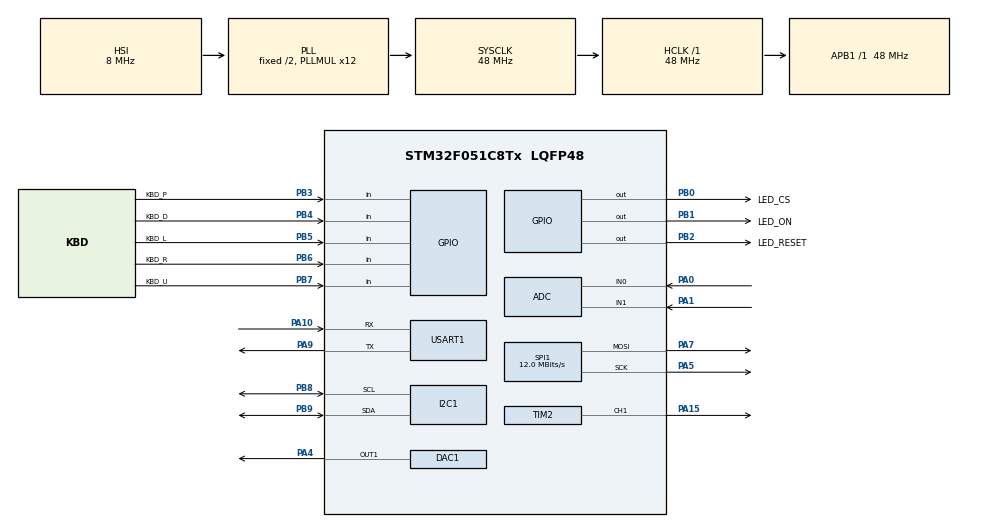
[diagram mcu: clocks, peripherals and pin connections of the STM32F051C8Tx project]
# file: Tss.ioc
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ADC.DMAContinuousRequests=ENABLE
ADC.EOCSelection=ADC_EOC_SEQ_CONV
ADC.Overrun=ADC_OVR_DATA_OVERWRITTEN
ADC.SamplingTime=ADC_SAMPLETIME_28CYCLES_5
Dma.ADC.0.Direction=DMA_PERIPH_TO_MEMORY
Dma.ADC.0.Instance=DMA1_Channel1
Dma.ADC.0.MemDataAlignment=DMA_MDATAALIGN_WORD
Dma.ADC.0.MemInc=DMA_MINC_ENABLE
Dma.ADC.0.Mode=DMA_NORMAL
Dma.ADC.0.PeriphDataAlignment=DMA_PDATAALIGN_HALFWORD
Dma.ADC.0.PeriphInc=DMA_PINC_DISABLE
Dma.ADC.0.Priority=DMA_PRIORITY_LOW
Dma.Request0=ADC
FREERTOS.HEAP_NUMBER=2
FREERTOS.INCLUDE_uxTaskPriorityGet=0
FREERTOS.INCLUDE_vTaskDelete=0
FREERTOS.INCLUDE_vTaskPrioritySet=0
FREERTOS.INCLUDE_vTaskSuspend=0
FREERTOS.INCLUDE_xTaskGetSchedulerState=0
FREERTOS.Queues01=myKBDQueue,16,uint16_t,0,Dynamic,NULL,NULL
FREERTOS.Tasks01=defaultTask,0,128,StartDefaultTask,Default,NULL,Dynamic,NULL,NULL;myDisplayTask,0,128,StartDisplayTask,Default,NULL,Dynamic,NULL,NULL;myKBDTask,0,128,StartKBDTask,Default,NULL,Dynamic,NULL,NULL
FREERTOS.Timers01=myTimer01,TimerCallback,osTimerPeriodic,Default,NULL,Dynamic,NULL
FREERTOS.configENABLE_BACKWARD_COMPATIBILITY=0
FREERTOS.configTOTAL_HEAP_SIZE=4096
FREERTOS.configUSE_IDLE_HOOK=0
FREERTOS.configUSE_TIMERS=1
Mcu.Family=STM32F0
Mcu.Name=STM32F051C8Tx
Mcu.Package=LQFP48
NVIC.DMA1_Channel1_IRQn=true\:3\:0\:false\:false\:true\:true\:false\:true
NVIC.TIM1_BRK_UP_TRG_COM_IRQn=true\:0\:0\:false\:false\:true\:false\:false\:true
NVIC.TimeBase=TIM1_BRK_UP_TRG_COM_IRQn
NVIC.TimeBaseIP=TIM1
PA0.Mode=IN0
PA0.Signal=ADC_IN0
PA1.Mode=IN1
PA1.Signal=ADC_IN1
PA10.Mode=Asynchronous
PA10.Signal=USART1_RX
PA13.Mode=Serial_Wire
PA13.Signal=SYS_SWDIO
PA14.Mode=Serial_Wire
PA14.Signal=SYS_SWCLK
PA15.Signal=S_TIM2_CH1_ETR
PA4.Signal=COMP_DAC11_group
PA5.Mode=TX_Only_Simplex_Unidirect_Master
PA5.Signal=SPI1_SCK
PA7.Mode=TX_Only_Simplex_Unidirect_Master
PA7.Signal=SPI1_MOSI
PA9.Mode=Asynchronous
PA9.Signal=USART1_TX
PB0.GPIO_Label=LED_CS
PB0.Signal=GPIO_Output
PB1.GPIO_Label=LED_ON
PB1.Signal=GPIO_Output
PB2.GPIO_Label=LED_RESET
PB2.Signal=GPIO_Output
PB3.GPIO_Label=KBD_P
PB3.Signal=GPIO_Input
PB4.GPIO_Label=KBD_D
PB4.Signal=GPIO_Input
PB5.GPIO_Label=KBD_L
PB5.Signal=GPIO_Input
PB6.GPIO_Label=KBD_R
PB6.Signal=GPIO_Input
PB7.GPIO_Label=KBD_U
PB7.Signal=GPIO_Input
PB8.Mode=I2C
PB8.Signal=I2C1_SCL
PB9.Mode=I2C
PB9.Signal=I2C1_SDA
ProjectManager.HeapSize=0x200
ProjectManager.StackSize=0x400
ProjectManager.TargetToolchain=MDK-ARM V5
RCC.AHBFreq_Value=48000000
RCC.APB1Freq_Value=48000000
RCC.APB1TimFreq_Value=48000000
RCC.HCLKFreq_Value=48000000
RCC.PLLMUL=RCC_PLL_MUL12
RCC.SYSCLKFreq_VALUE=48000000
RCC.SYSCLKSource=RCC_SYSCLKSOURCE_PLLCLK
SH.COMP_DAC11_group.0=DAC1_OUT1,DAC_OUT1
SH.S_TIM2_CH1_ETR.0=TIM2_CH1,PWM Generation1 CH1
SPI1.BaudRatePrescaler=SPI_BAUDRATEPRESCALER_4
SPI1.CalculateBaudRate=12.0 MBits/s
SPI1.DataSize=SPI_DATASIZE_9BIT
SPI1.Direction=SPI_DIRECTION_2LINES
SPI1.Mode=SPI_MODE_MASTER
SPI1.VirtualType=VM_MASTER
TIM2.AutoReloadPreload=TIM_AUTORELOAD_PRELOAD_ENABLE
TIM2.Channel-PWM\ Generation1\ CH1=TIM_CHANNEL_1
TIM2.Period=480
TIM2.Pulse-PWM\ Generation1\ CH1=100
USART1.VirtualMode-Asynchronous=VM_ASYNC
VP_ADC_Vref_Input.Mode=IN-Vrefint
VP_FREERTOS_VS_CMSIS_V1.Mode=CMSIS_V1
VP_SYS_VS_tim1.Mode=TIM1
VP_TIM2_VS_ClockSourceINT.Mode=Internal
board=custom

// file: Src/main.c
/* USER CODE BEGIN Header */
/**
  ******************************************************************************
  * @file           : main.c
  * @brief          : Main program body
  ******************************************************************************
  * @attention
  *
  * <h2><center>&copy; Copyright (c) 2020 STMicroelectronics.
  * All rights reserved.</center></h2>
  *
  * This software component is licensed by ST under BSD 3-Clause license,
  * the "License"; You may not use this file except in compliance with the
  * License. You may obtain a copy of the License at:
  *                        opensource.org/licenses/BSD-3-Clause
  *
  ******************************************************************************
  */
/* USER CODE END Header */

#include "main.h"
#include "cmsis_os.h"

/* USER CODE BEGIN Includes */
#include "n1202.h"
#include "stdio.h"
#include "string.h"
#include "stdbool.h"
#include "stdint.h"
#include "stdlib.h"

/* USER CODE END Includes */

/* USER CODE BEGIN PTD */
#define KB_NN 0x00
#define KB_UP 0x01
#define	KB_DN 0x02
#define	KB_LF 0x03
#define	KB_RT 0x04
#define	KB_PR 0x05
#define KB_ND 0x06

#define STOP_MODE 0x01
#define RUN_MODE  0x02
#define CV_MODE   0x03
#define CC_MODE   0x04
#define CP_MODE   0x05
#define CS_MODE   0x06

#define VDD_APPLI                      ((uint32_t)3300)   /* Value of analog voltage supply Vdda (unit: mV) */
#define RANGE_12BITS                   ((uint32_t)4095)   /* Max value for a full range of 12 bits (4096 values) */
#define VREFINT_CAL_ADDR                0x1FFFF7BA  /* datasheet p. 19 */
#define VREFINT_CAL ((uint16_t*) VREFINT_CAL_ADDR)

/* USER CODE END PTD */

/* USER CODE BEGIN PM */
uint8_t _LCD_RAM[LCD_X*LCD_String];
uint32_t adc_data[3];
uint16_t rdac;
//
uint32_t mVoltage = 0;
uint32_t mCurrent = 0;
uint32_t mPower = 0;
//
uint32_t last_time;
uint32_t pConsumption = 0;
//
uint8_t  mMode = 1;
uint8_t  mRun = 0;
//
const	char cic[32] = {0x00,0x00,0x80,0xC0,0xE0,0xB0,0x98,0x80,0x80,0x80,0x80,0xBE,0x8A,0x82,0x80,0x00,
	                    0x00,0x00,0x01,0x03,0x07,0x0D,0x19,0x01,0x01,0x01,0x01,0x7D,0x45,0x45,0x01,0x00};

/* USER CODE END PM */

ADC_HandleTypeDef hadc;
DMA_HandleTypeDef hdma_adc;

DAC_HandleTypeDef hdac1;

I2C_HandleTypeDef hi2c1;

SPI_HandleTypeDef hspi1;

TIM_HandleTypeDef htim2;

UART_HandleTypeDef huart1;

osThreadId defaultTaskHandle;
osThreadId myDisplayTaskHandle;
osThreadId myKBDTaskHandle;
osMessageQId myKBDQueueHandle;
osTimerId myTimer01Handle;

void SystemClock_Config(void);
static void MX_GPIO_Init(void);
static void MX_DMA_Init(void);
static void MX_ADC_Init(void);
static void MX_DAC1_Init(void);
static void MX_I2C1_Init(void);
static void MX_SPI1_Init(void);
static void MX_TIM2_Init(void);
static void MX_USART1_UART_Init(void);
void StartDefaultTask(void const * argument);
void StartDisplayTask(void const * argument);
void StartKBDTask(void const * argument);
void TimerCallback(void const * argument);

int main(void)
{

  /* MCU Configuration--------------------------------------------------------*/

  /* Reset of all peripherals, Initializes the Flash interface and the Systick. */
  HAL_Init();

  /* Configure the system clock */
  SystemClock_Config();

  /* Initialize all configured peripherals */
  MX_GPIO_Init();
  MX_DMA_Init();
  MX_ADC_Init();
  MX_DAC1_Init();
  MX_I2C1_Init();
  MX_SPI1_Init();
  MX_TIM2_Init();
  MX_USART1_UART_Init();
  /* USER CODE BEGIN 2 */
	//
	HAL_GPIO_WritePin(LED_ON_GPIO_Port, LED_ON_Pin, GPIO_PIN_SET);
  LCD_Init();
  //
  HAL_ADCEx_Calibration_Start(&hadc);
	//
  HAL_DAC_Start(&hdac1, DAC_CHANNEL_1);
  //
	HAL_TIM_PWM_Start(&htim2, TIM_CHANNEL_1);
  /* USER CODE END 2 */

  /* Create the timer(s) */
  /* definition and creation of myTimer01 */
  osTimerDef(myTimer01, TimerCallback);
  myTimer01Handle = osTimerCreate(osTimer(myTimer01), osTimerPeriodic, NULL);

  /* Create the queue(s) */
  /* definition and creation of myKBDQueue */
  osMessageQDef(myKBDQueue, 16, uint16_t);
  myKBDQueueHandle = osMessageCreate(osMessageQ(myKBDQueue), NULL);

  /* Create the thread(s) */
  /* definition and creation of defaultTask */
  osThreadDef(defaultTask, StartDefaultTask, osPriorityNormal, 0, 128);
  defaultTaskHandle = osThreadCreate(osThread(defaultTask), NULL);

  /* definition and creation of myDisplayTask */
  osThreadDef(myDisplayTask, StartDisplayTask, osPriorityNormal, 0, 128);
  myDisplayTaskHandle = osThreadCreate(osThread(myDisplayTask), NULL);

  /* definition and creation of myKBDTask */
  osThreadDef(myKBDTask, StartKBDTask, osPriorityNormal, 0, 128);
  myKBDTaskHandle = osThreadCreate(osThread(myKBDTask), NULL);

  /* Start scheduler */
  osKernelStart();

  /* We should never get here as control is now taken by the scheduler */

  /* Infinite loop */
  while (1)
  {

	}
}

void SystemClock_Config(void)
{
  RCC_OscInitTypeDef RCC_OscInitStruct = {0};
  RCC_ClkInitTypeDef RCC_ClkInitStruct = {0};
  RCC_PeriphCLKInitTypeDef PeriphClkInit = {0};

  /** Initializes the CPU, AHB and APB busses clocks
  */
  RCC_OscInitStruct.OscillatorType = RCC_OSCILLATORTYPE_HSI|RCC_OSCILLATORTYPE_HSI14;
  RCC_OscInitStruct.HSIState = RCC_HSI_ON;
  RCC_OscInitStruct.HSI14State = RCC_HSI14_ON;
  RCC_OscInitStruct.HSICalibrationValue = RCC_HSICALIBRATION_DEFAULT;
  RCC_OscInitStruct.HSI14CalibrationValue = 16;
  RCC_OscInitStruct.PLL.PLLState = RCC_PLL_ON;
  RCC_OscInitStruct.PLL.PLLSource = RCC_PLLSOURCE_HSI;
  RCC_OscInitStruct.PLL.PLLMUL = RCC_PLL_MUL12;
  RCC_OscInitStruct.PLL.PREDIV = RCC_PREDIV_DIV1;
  if (HAL_RCC_OscConfig(&RCC_OscInitStruct) != HAL_OK)
  {
    Error_Handler();
  }
  /** Initializes the CPU, AHB and APB busses clocks
  */
  RCC_ClkInitStruct.ClockType = RCC_CLOCKTYPE_HCLK|RCC_CLOCKTYPE_SYSCLK
                              |RCC_CLOCKTYPE_PCLK1;
  RCC_ClkInitStruct.SYSCLKSource = RCC_SYSCLKSOURCE_PLLCLK;
  RCC_ClkInitStruct.AHBCLKDivider = RCC_SYSCLK_DIV1;
  RCC_ClkInitStruct.APB1CLKDivider = RCC_HCLK_DIV1;

  if (HAL_RCC_ClockConfig(&RCC_ClkInitStruct, FLASH_LATENCY_1) != HAL_OK)
  {
    Error_Handler();
  }
  PeriphClkInit.PeriphClockSelection = RCC_PERIPHCLK_USART1|RCC_PERIPHCLK_I2C1;
  PeriphClkInit.Usart1ClockSelection = RCC_USART1CLKSOURCE_PCLK1;
  PeriphClkInit.I2c1ClockSelection = RCC_I2C1CLKSOURCE_HSI;
  if (HAL_RCCEx_PeriphCLKConfig(&PeriphClkInit) != HAL_OK)
  {
    Error_Handler();
  }
}

static void MX_ADC_Init(void)
{

  ADC_ChannelConfTypeDef sConfig = {0};

  /** Configure the global features of the ADC (Clock, Resolution, Data Alignment and number of conversion)
  */
  hadc.Instance = ADC1;
  hadc.Init.ClockPrescaler = ADC_CLOCK_ASYNC_DIV1;
  hadc.Init.Resolution = ADC_RESOLUTION_12B;
  hadc.Init.DataAlign = ADC_DATAALIGN_RIGHT;
  hadc.Init.ScanConvMode = ADC_SCAN_DIRECTION_FORWARD;
  hadc.Init.EOCSelection = ADC_EOC_SEQ_CONV;
  hadc.Init.LowPowerAutoWait = DISABLE;
  hadc.Init.LowPowerAutoPowerOff = DISABLE;
  hadc.Init.ContinuousConvMode = DISABLE;
  hadc.Init.DiscontinuousConvMode = DISABLE;
  hadc.Init.ExternalTrigConv = ADC_SOFTWARE_START;
  hadc.Init.ExternalTrigConvEdge = ADC_EXTERNALTRIGCONVEDGE_NONE;
  hadc.Init.DMAContinuousRequests = ENABLE;
  hadc.Init.Overrun = ADC_OVR_DATA_OVERWRITTEN;
  if (HAL_ADC_Init(&hadc) != HAL_OK)
  {
    Error_Handler();
  }
  /** Configure for the selected ADC regular channel to be converted.
  */
  sConfig.Channel = ADC_CHANNEL_0;
  sConfig.Rank = ADC_RANK_CHANNEL_NUMBER;
  sConfig.SamplingTime = ADC_SAMPLETIME_28CYCLES_5;
  if (HAL_ADC_ConfigChannel(&hadc, &sConfig) != HAL_OK)
  {
    Error_Handler();
  }
  /** Configure for the selected ADC regular channel to be converted.
  */
  sConfig.Channel = ADC_CHANNEL_1;
  if (HAL_ADC_ConfigChannel(&hadc, &sConfig) != HAL_OK)
  {
    Error_Handler();
  }
  /** Configure for the selected ADC regular channel to be converted.
  */
  sConfig.Channel = ADC_CHANNEL_VREFINT;
  if (HAL_ADC_ConfigChannel(&hadc, &sConfig) != HAL_OK)
  {
    Error_Handler();
  }

}

static void MX_DAC1_Init(void)
{

  DAC_ChannelConfTypeDef sConfig = {0};

  /** DAC Initialization
  */
  hdac1.Instance = DAC;
  if (HAL_DAC_Init(&hdac1) != HAL_OK)
  {
    Error_Handler();
  }
  /** DAC channel OUT1 config
  */
  sConfig.DAC_Trigger = DAC_TRIGGER_NONE;
  sConfig.DAC_OutputBuffer = DAC_OUTPUTBUFFER_ENABLE;
  if (HAL_DAC_ConfigChannel(&hdac1, &sConfig, DAC_CHANNEL_1) != HAL_OK)
  {
    Error_Handler();
  }

}

static void MX_I2C1_Init(void)
{

  hi2c1.Instance = I2C1;
  hi2c1.Init.Timing = 0x2000090E;
  hi2c1.Init.OwnAddress1 = 0;
  hi2c1.Init.AddressingMode = I2C_ADDRESSINGMODE_7BIT;
  hi2c1.Init.DualAddressMode = I2C_DUALADDRESS_DISABLE;
  hi2c1.Init.OwnAddress2 = 0;
  hi2c1.Init.OwnAddress2Masks = I2C_OA2_NOMASK;
  hi2c1.Init.GeneralCallMode = I2C_GENERALCALL_DISABLE;
  hi2c1.Init.NoStretchMode = I2C_NOSTRETCH_DISABLE;
  if (HAL_I2C_Init(&hi2c1) != HAL_OK)
  {
    Error_Handler();
  }
  /** Configure Analogue filter
  */
  if (HAL_I2CEx_ConfigAnalogFilter(&hi2c1, I2C_ANALOGFILTER_ENABLE) != HAL_OK)
  {
    Error_Handler();
  }
  /** Configure Digital filter
  */
  if (HAL_I2CEx_ConfigDigitalFilter(&hi2c1, 0) != HAL_OK)
  {
    Error_Handler();
  }

}

static void MX_SPI1_Init(void)
{

  /* SPI1 parameter configuration*/
  hspi1.Instance = SPI1;
  hspi1.Init.Mode = SPI_MODE_MASTER;
  hspi1.Init.Direction = SPI_DIRECTION_2LINES;
  hspi1.Init.DataSize = SPI_DATASIZE_9BIT;
  hspi1.Init.CLKPolarity = SPI_POLARITY_LOW;
  hspi1.Init.CLKPhase = SPI_PHASE_1EDGE;
  hspi1.Init.NSS = SPI_NSS_SOFT;
  hspi1.Init.BaudRatePrescaler = SPI_BAUDRATEPRESCALER_4;
  hspi1.Init.FirstBit = SPI_FIRSTBIT_MSB;
  hspi1.Init.TIMode = SPI_TIMODE_DISABLE;
  hspi1.Init.CRCCalculation = SPI_CRCCALCULATION_DISABLE;
  hspi1.Init.CRCPolynomial = 7;
  hspi1.Init.CRCLength = SPI_CRC_LENGTH_DATASIZE;
  hspi1.Init.NSSPMode = SPI_NSS_PULSE_ENABLE;
  if (HAL_SPI_Init(&hspi1) != HAL_OK)
  {
    Error_Handler();
  }

}

static void MX_TIM2_Init(void)
{

  TIM_ClockConfigTypeDef sClockSourceConfig = {0};
  TIM_MasterConfigTypeDef sMasterConfig = {0};
  TIM_OC_InitTypeDef sConfigOC = {0};

  htim2.Instance = TIM2;
  htim2.Init.Prescaler = 0;
  htim2.Init.CounterMode = TIM_COUNTERMODE_UP;
  htim2.Init.Period = 480;
  htim2.Init.ClockDivision = TIM_CLOCKDIVISION_DIV1;
  htim2.Init.AutoReloadPreload = TIM_AUTORELOAD_PRELOAD_ENABLE;
  if (HAL_TIM_Base_Init(&htim2) != HAL_OK)
  {
    Error_Handler();
  }
  sClockSourceConfig.ClockSource = TIM_CLOCKSOURCE_INTERNAL;
  if (HAL_TIM_ConfigClockSource(&htim2, &sClockSourceConfig) != HAL_OK)
  {
    Error_Handler();
  }
  if (HAL_TIM_PWM_Init(&htim2) != HAL_OK)
  {
    Error_Handler();
  }
  sMasterConfig.MasterOutputTrigger = TIM_TRGO_RESET;
  sMasterConfig.MasterSlaveMode = TIM_MASTERSLAVEMODE_DISABLE;
  if (HAL_TIMEx_MasterConfigSynchronization(&htim2, &sMasterConfig) != HAL_OK)
  {
    Error_Handler();
  }
  sConfigOC.OCMode = TIM_OCMODE_PWM1;
  sConfigOC.Pulse = 100;
  sConfigOC.OCPolarity = TIM_OCPOLARITY_HIGH;
  sConfigOC.OCFastMode = TIM_OCFAST_DISABLE;
  if (HAL_TIM_PWM_ConfigChannel(&htim2, &sConfigOC, TIM_CHANNEL_1) != HAL_OK)
  {
    Error_Handler();
  }
  HAL_TIM_MspPostInit(&htim2);

}

static void MX_USART1_UART_Init(void)
{

  huart1.Instance = USART1;
  huart1.Init.BaudRate = 38400;
  huart1.Init.WordLength = UART_WORDLENGTH_8B;
  huart1.Init.StopBits = UART_STOPBITS_1;
  huart1.Init.Parity = UART_PARITY_NONE;
  huart1.Init.Mode = UART_MODE_TX_RX;
  huart1.Init.HwFlowCtl = UART_HWCONTROL_NONE;
  huart1.Init.OverSampling = UART_OVERSAMPLING_16;
  huart1.Init.OneBitSampling = UART_ONE_BIT_SAMPLE_DISABLE;
  huart1.AdvancedInit.AdvFeatureInit = UART_ADVFEATURE_NO_INIT;
  if (HAL_UART_Init(&huart1) != HAL_OK)
  {
    Error_Handler();
  }

}

static void MX_DMA_Init(void)
{

  /* DMA controller clock enable */
  __HAL_RCC_DMA1_CLK_ENABLE();

  /* DMA interrupt init */
  /* DMA1_Channel1_IRQn interrupt configuration */
  HAL_NVIC_SetPriority(DMA1_Channel1_IRQn, 3, 0);
  HAL_NVIC_EnableIRQ(DMA1_Channel1_IRQn);

}

static void MX_GPIO_Init(void)
{
  GPIO_InitTypeDef GPIO_InitStruct = {0};

  /* GPIO Ports Clock Enable */
  __HAL_RCC_GPIOA_CLK_ENABLE();
  __HAL_RCC_GPIOB_CLK_ENABLE();

  /*Configure GPIO pin Output Level */
  HAL_GPIO_WritePin(GPIOB, LED_CS_Pin|LED_ON_Pin|LED_RESET_Pin, GPIO_PIN_RESET);

  /*Configure GPIO pins : LED_CS_Pin LED_ON_Pin LED_RESET_Pin */
  GPIO_InitStruct.Pin = LED_CS_Pin|LED_ON_Pin|LED_RESET_Pin;
  GPIO_InitStruct.Mode = GPIO_MODE_OUTPUT_PP;
  GPIO_InitStruct.Pull = GPIO_NOPULL;
  GPIO_InitStruct.Speed = GPIO_SPEED_FREQ_LOW;
  HAL_GPIO_Init(GPIOB, &GPIO_InitStruct);

  /*Configure GPIO pins : KBD_P_Pin KBD_D_Pin KBD_L_Pin KBD_R_Pin
                           KBD_U_Pin */
  GPIO_InitStruct.Pin = KBD_P_Pin|KBD_D_Pin|KBD_L_Pin|KBD_R_Pin
                          |KBD_U_Pin;
  GPIO_InitStruct.Mode = GPIO_MODE_INPUT;
  GPIO_InitStruct.Pull = GPIO_NOPULL;
  HAL_GPIO_Init(GPIOB, &GPIO_InitStruct);

}

/* USER CODE BEGIN 4 */
void HAL_ADC_ConvCpltCallback(ADC_HandleTypeDef* hadc)
{
	mVoltage = ((80586 * adc_data[1])/100000)*2.102;
  mCurrent = ((80586 * adc_data[0])/100000)/2.37;
	mPower = (mVoltage * mCurrent) / 1000;
}

/* USER CODE END 4 */

void StartDefaultTask(void const * argument)
{
  /* USER CODE BEGIN 5 */
	uint8_t KBS;
	rdac = 0;
	xTimerStart(myTimer01Handle, 50);
  /* Infinite loop */
  for(;;)
  {
		//
		if (mPower > 1000) TIM2->CCR1 = 800;
		else if (mPower > 750) TIM2->CCR1 = 550;
		else if (mPower > 500) TIM2->CCR1 = 400;
		else if (mPower > 200) TIM2->CCR1 = 300;
		else TIM2->CCR1 = 200;
		osDelay(10);
		// Реагируем на клавиатуру
		if (xQueueReceive(myKBDQueueHandle, &KBS, 0) == pdTRUE)	{
			if (KBS == KB_LF) {
				// Клавиша влево при режиме удержания тока
				if (mMode == 1) {
					if (rdac > 11) rdac = rdac - 10;
					HAL_DAC_SetValue(&hdac1, DAC_CHANNEL_1, DAC_ALIGN_12B_R, rdac);
				}
			}
			if (KBS == KB_RT) {
				// Клавиша вправо в режиме удержания тока
				if (mMode == 1) {
					if (rdac < 4080) rdac = rdac + 10;
					HAL_DAC_SetValue(&hdac1, DAC_CHANNEL_1, DAC_ALIGN_12B_R, rdac);
				}
			}
			if ((KBS == KB_UP)&&(mMode>0)) mMode--;
			if ((KBS == KB_DN)&&(mMode<2)) mMode++;
      if (KBS == KB_PR) {
				if (mRun == 0) {
					mRun = 1;
					pConsumption = 0;
				}
				else mRun = 0l;
			}
		}
		// измеряем миллиамерчасы
		if (mRun == 1) {
			uint32_t cicle = HAL_GetTick() - last_time;
      pConsumption = pConsumption + ( mCurrent * 2.7777) * cicle;
			last_time = HAL_GetTick();
		}

  }
  /* USER CODE END 5 */
}

void StartDisplayTask(void const * argument)
{
  /* USER CODE BEGIN StartDisplayTask */
	char c[4];
	char d[16];
	uint8_t s[4];
  /* Infinite loop */
  for(;;)
  {
		// Начинаем обновлять экран
		LCD_Clear();
    //
		memset(c, 0, 4);
		memset(s, 0, 4);
		sprintf(c, "%d", mVoltage);
		LCD_print(0, 4, 1, "Volt");
		s[0] = 0;
	  if ((c[0] >= 0x30)&&(c[0] <= 0x39)) s[0] = c[0] - 0x30;
    s[1] = 0;
	  if ((c[1] >= 0x30)&&(c[1] <= 0x39)) s[1] = c[1] - 0x30;
    s[2] = 0;
    if ((c[2] >= 0x30)&&(c[2] <= 0x39)) s[2] = c[2] - 0x30;
    s[3] = 0;
	  if ((c[3] >= 0x30)&&(c[3] <= 0x39)) s[3] = c[3] - 0x30;
		if (mVoltage >= 1000) {
			LCD_DrawBitmap(28, 0, mass10x16[s[0]], 10, 16, 1);
		  LCD_DrawBitmap(40, 0, mass10x16[s[1]], 10, 16, 1);
		  LCD_FillRect(51, 14, 2, 2, 1);
		  LCD_DrawBitmap(54, 0, mass10x16[s[2]], 10, 16, 1);
		  LCD_DrawBitmap(66, 0, mass10x16[s[3]], 10, 16, 1);
		}
		else if (mVoltage >= 100) {
			LCD_DrawBitmap(40, 0, mass10x16[s[0]], 10, 16, 1);
		  LCD_FillRect(51, 14, 2, 2, 1);
		  LCD_DrawBitmap(54, 0, mass10x16[s[1]], 10, 16, 1);
		  LCD_DrawBitmap(66, 0, mass10x16[s[2]], 10, 16, 1);
		}
		else if (mVoltage >= 10) {
		  LCD_DrawBitmap(40, 0, mass10x16[0], 10, 16, 1);
		  LCD_FillRect(51, 14, 2, 2, 1);
		  LCD_DrawBitmap(54, 0, mass10x16[s[0]], 10, 16, 1);
		  LCD_DrawBitmap(66, 0, mass10x16[s[1]], 10, 16, 1);
		}
		else if (mVoltage >= 1) {
		  LCD_DrawBitmap(40, 0, mass10x16[0], 10, 16, 1);
		  LCD_FillRect(51, 14, 2, 2, 1);
		  LCD_DrawBitmap(54, 0, mass10x16[0], 10, 16, 1);
		  LCD_DrawBitmap(66, 0, mass10x16[s[0]], 10, 16, 1);
		}
    //
		memset(c, 0, 4);
		memset(s, 0, 4);
		sprintf(c, "%d", mCurrent);
    LCD_print(0, 23, 1, "Curr");
    s[0] = 0;
		if ((c[0] >= 0x30)&&(c[0] <= 0x39)) s[0] = c[0] - 0x30;
    s[1] = 0;
		if ((c[1] >= 0x30)&&(c[1] <= 0x39)) s[1] = c[1] - 0x30;
    s[2] = 0;
		if ((c[2] >= 0x30)&&(c[2] <= 0x39)) s[2] = c[2] - 0x30;
    s[3] = 0;
		if ((c[3] >= 0x30)&&(c[3] <= 0x39)) s[3] = c[3] - 0x30;
    if (mCurrent >= 1000) {
			LCD_DrawBitmap(28, 19, mass10x16[s[0]], 10, 16, 1);
      LCD_FillRect(39, 33, 2, 2, 1);
		  LCD_DrawBitmap(42, 19, mass10x16[s[1]], 10, 16, 1);
		  LCD_DrawBitmap(54, 19, mass10x16[s[2]], 10, 16, 1);
		  LCD_DrawBitmap(66, 19, mass10x16[s[3]], 10, 16, 1);
		}
		else if (mCurrent >= 100) {
			LCD_DrawBitmap(28, 19, mass10x16[0], 10, 16, 1);
      LCD_FillRect(39, 33, 2, 2, 1);
		  LCD_DrawBitmap(42, 19, mass10x16[s[0]], 10, 16, 1);
		  LCD_DrawBitmap(54, 19, mass10x16[s[1]], 10, 16, 1);
		  LCD_DrawBitmap(66, 19, mass10x16[s[2]], 10, 16, 1);
		}
		else if (mCurrent >= 10) {
			LCD_DrawBitmap(28, 19, mass10x16[0], 10, 16, 1);
      LCD_FillRect(39, 33, 2, 2, 1);
		  LCD_DrawBitmap(42, 19, mass10x16[0], 10, 16, 1);
		  LCD_DrawBitmap(54, 19, mass10x16[s[0]], 10, 16, 1);
		  LCD_DrawBitmap(66, 19, mass10x16[s[1]], 10, 16, 1);
		}
		else if (mCurrent >= 1) {
			LCD_DrawBitmap(28, 19, mass10x16[0], 10, 16, 1);
      LCD_FillRect(39, 33, 2, 2, 1);
		  LCD_DrawBitmap(42, 19, mass10x16[0], 10, 16, 1);
		  LCD_DrawBitmap(54, 19, mass10x16[0], 10, 16, 1);
		  LCD_DrawBitmap(66, 19, mass10x16[s[0]], 10, 16, 1);
		}
    //
		memset(c, 0, 4);
		memset(s, 0, 4);
		sprintf(c, "%d", mPower);
		LCD_print(0, 42, 1, "Pwr");
    s[0] = 0;
		if ((c[0] >= 0x30)&&(c[0] <= 0x39)) s[0] = c[0] - 0x30;
    s[1] = 0;
		if ((c[1] >= 0x30)&&(c[1] <= 0x39)) s[1] = c[1] - 0x30;
    s[2] = 0;
		if ((c[2] >= 0x30)&&(c[2] <= 0x39)) s[2] = c[2] - 0x30;
    s[3] = 0;
		if ((c[3] >= 0x30)&&(c[3] <= 0x39)) s[3] = c[3] - 0x30;
    if (mPower >= 1000) {
			LCD_DrawBitmap(28, 38, mass10x16[s[0]], 10, 16, 1);
		  LCD_DrawBitmap(40, 38, mass10x16[s[1]], 10, 16, 1);
		  LCD_FillRect(51, 52, 2, 2, 1);
  		LCD_DrawBitmap(54, 38, mass10x16[s[2]], 10, 16, 1);
	  	LCD_DrawBitmap(66, 38, mass10x16[s[3]], 10, 16, 1);
		}
    else if (mPower >= 100) {
			LCD_DrawBitmap(40, 38, mass10x16[s[0]], 10, 16, 1);
		  LCD_FillRect(51, 52, 2, 2, 1);
  		LCD_DrawBitmap(54, 38, mass10x16[s[1]], 10, 16, 1);
	  	LCD_DrawBitmap(66, 38, mass10x16[s[2]], 10, 16, 1);
		}
    else if (mPower >= 10) {
		  LCD_DrawBitmap(40, 38, mass10x16[0], 10, 16, 1);
		  LCD_FillRect(51, 52, 2, 2, 1);
  		LCD_DrawBitmap(54, 38, mass10x16[s[0]], 10, 16, 1);
	  	LCD_DrawBitmap(66, 38, mass10x16[s[1]], 10, 16, 1);
		}
    else if (mPower >= 1) {
		  LCD_DrawBitmap(40, 38, mass10x16[0], 10, 16, 1);
		  LCD_FillRect(51, 52, 2, 2, 1);
  		LCD_DrawBitmap(54, 38, mass10x16[0], 10, 16, 1);
	  	LCD_DrawBitmap(66, 38, mass10x16[s[0]], 10, 16, 1);
		}
		//
		if (mRun) {
			sprintf(d, "Active %d mah", pConsumption/10000000);
			LCD_print(0, 60, 1, d);
		}
		else LCD_print(30, 60, 1, "Stoped");
	  //
    if (mMode == 0) LCD_DrawBitmap(79, 0, cic, 16, 16, 1);
    if (mMode == 1) LCD_DrawBitmap(79, 19, cic, 16, 16, 1);
    if (mMode == 2) LCD_DrawBitmap(79, 38, cic, 16, 16, 1);
    //
	  LCD_Update();
    //
	  osDelay(250);
  }
  /* USER CODE END StartDisplayTask */
}

void StartKBDTask(void const * argument)
{
  /* USER CODE BEGIN StartKBDTask */
	uint8_t KL = 0, KR = 0, KD = 0, KU = 0, KP = 0;
  uint8_t KB_State;
  /* Infinite loop */
  for(;;)
  {
		//
		if (HAL_GPIO_ReadPin(KBD_L_GPIO_Port, KBD_L_Pin) == GPIO_PIN_SET) KL = KL << 1 | 0x01;
		else KL = KL << 1 | 0x00;
		if (HAL_GPIO_ReadPin(KBD_R_GPIO_Port, KBD_R_Pin) == GPIO_PIN_SET) KR = KR << 1 | 0x01;
		else KR = KR << 1 | 0x00;
		if (HAL_GPIO_ReadPin(KBD_U_GPIO_Port, KBD_U_Pin) == GPIO_PIN_SET) KU = KU << 1 | 0x01;
		else KU = KU << 1 | 0x00;
		if (HAL_GPIO_ReadPin(KBD_D_GPIO_Port, KBD_D_Pin) == GPIO_PIN_SET) KD = KD << 1 | 0x01;
		else KD = KD << 1 | 0x00;
		if (HAL_GPIO_ReadPin(KBD_P_GPIO_Port, KBD_P_Pin) == GPIO_PIN_SET) KP = KP << 1 | 0x01;
		else KP = KP << 1 | 0x00;
		//
		KB_State = KB_ND;
		if (KL == 0xFF) {
			KB_State = KB_LF;
			KL = KL << 1 | 0x00;
		}
		if (KR == 0xFF) {
			KB_State = KB_RT;
			KR = KR << 1 | 0x00;
		}
		if (KU == 0xFF) {
			KB_State = KB_UP;
			KU = KU << 1 | 0x00;
		}
		if (KD == 0xFF) {
			KB_State = KB_DN;
			KD = KD << 1 | 0x00;
		}
		if (KP == 0xFF) {
			KB_State = KB_PR;
			KP = KP << 1 | 0x00;
		}
    if (!(KL|KR|KU|KP|KD)) KB_State = KB_NN;
		if ((KL|KR|KU|KP|KD)&&(KB_State != KB_NN)) xQueueSendToBack(myKBDQueueHandle, &KB_State, 10);
		//
    osDelay(20);
  }
  /* USER CODE END StartKBDTask */
}

/* TimerCallback function */
void TimerCallback(void const * argument)
{
  /* USER CODE BEGIN TimerCallback */
	HAL_ADC_Start_DMA(&hadc, adc_data, 3);
  /* USER CODE END TimerCallback */
}

void HAL_TIM_PeriodElapsedCallback(TIM_HandleTypeDef *htim)
{
  if (htim->Instance == TIM1) {
    HAL_IncTick();
  }
}

void Error_Handler(void)
{
}

/************************ (C) COPYRIGHT STMicroelectronics *****END OF FILE****/
